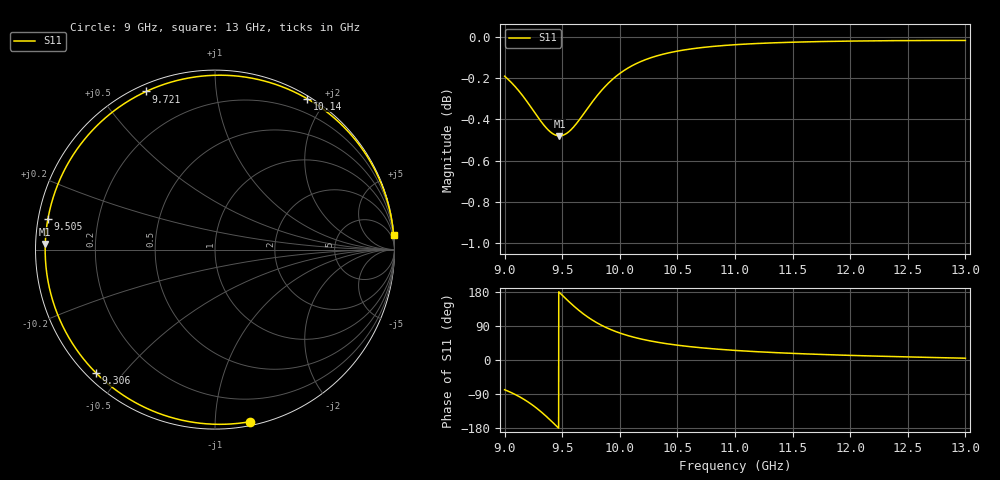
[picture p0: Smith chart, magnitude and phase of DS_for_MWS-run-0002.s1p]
! TOUCHSTONE file generated by CST DESIGN STUDIO
! Date and time: Wed Feb  5 13:33:17 2025
! Project name: C:\Work\MatlabApps\UnitCellOptimizationMatlab\CST\unitcell.cst
! Tree item: Tasks\Sweep1\SPara1\S-Parameters
! Header version: 2024
! Port assignment regex: !\s*Touchstone port\s*([0-9]+)\s*=\s*(CST MWS port|CST DES external port|CST DES block port)\s*(.+)\s* \(\"(.*)\"\)(\s*mode\s*([0-9]+))?.*
! Touchstone port assignment:
! Touchstone port 1 = CST DES external port 1 ("")
# GHz S MA R 50
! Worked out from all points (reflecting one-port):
!   4001 points, 9 GHz to 13 GHz, reference 50 ohm
!   lowest |S11| = -0.5 dB at 9.476 GHz (marker M1), VSWR 36.20, Z = 1.38 + j0.838 ohm
!   phase of S11 starts at -78 deg and turns -277 deg over the sweep
!   S11 on the Smith chart (normalised r, x): 9 GHz: 0.03, -1.22; 9.306 GHz: 0.03, -0.42; 9.505 GHz: 0.03, +0.09; 9.721 GHz: 0.03, +0.65; 10.14 GHz: 0.03, +1.78; 13 GHz: 1, +24
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9  0.9784 -78.5
9.076  0.9737 -88.6
9.173  0.9664 -104.8
9.242  0.9604 -118.9
9.306  0.9547 -134.0
9.351  0.9512 -145.8
9.398  0.9483 -159.0
9.438  0.9467 -170.6
9.476  0.9462 178.1
9.5  0.9464 171.0
9.505  0.9465 169.5
9.557  0.9484 154.4
9.617  0.9523 138.1
9.668  0.9564 125.4
9.721  0.961 113.5
9.777  0.9657 102.5
9.839  0.9704 92.0
9.918  0.9756 80.7
10  0.9799 71.2
10.141  0.9852 58.6
10.303  0.9892 48.1
10.5  0.9922 39.1
10.722  0.9942 31.8
11  0.9958 25.3
11.5  0.9971 17.5
12  0.9978 12.2
12.5  0.9981 8.1
13  0.9981 4.7
